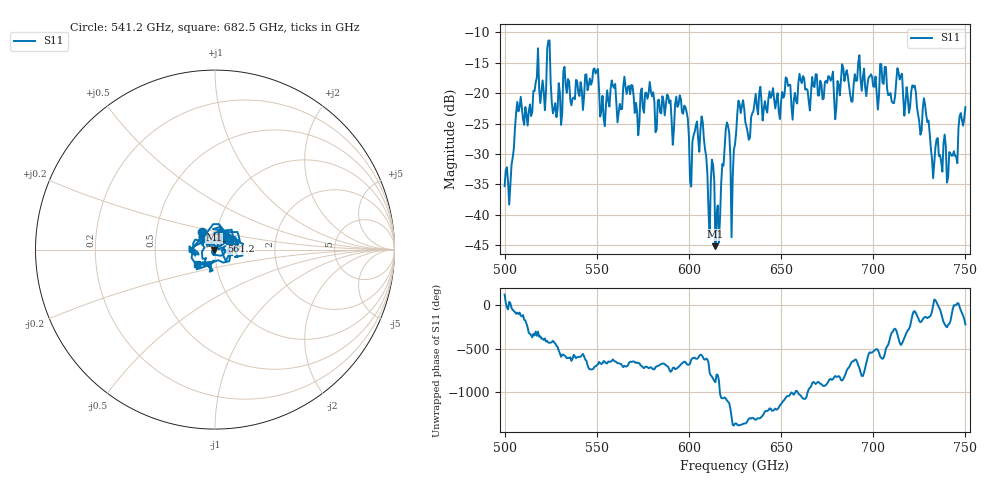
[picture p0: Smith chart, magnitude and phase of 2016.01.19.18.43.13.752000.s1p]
!Created with skrf (http://scikit-rf.org).
# GHz S RI R 50.0
!freq ReS11 ImS11
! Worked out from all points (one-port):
!   401 points, 500 GHz to 750 GHz, reference 50 ohm
!   lowest |S11| = -45.1 dB at 614.4 GHz (marker M1), VSWR 1.01, Z = 49.5 - j0.125 ohm
!   |S11| at or under -10 dB: start of sweep to end of sweep
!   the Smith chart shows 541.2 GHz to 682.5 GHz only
!   S11 on the Smith chart (normalised r, x): 541.2 GHz: 0.85, +0.17; 561.2 GHz: 1.07, +0.10; 682.5 GHz: 0.81, -0.13
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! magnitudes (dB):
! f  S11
! 500 GHz  -35.3
! 503.1 GHz  -34.9
! 507.5 GHz  -23.0
! 513.8 GHz  -21.8
! 516.9 GHz  -18.2
! 531.2 GHz  -23.3
! 541.2 GHz  -18.2
! 549.4 GHz  -16.8
! 553.1 GHz  -20.4
! 561.2 GHz  -24.8
! 562.5 GHz  -21.7
! 593.8 GHz  -22.2
! 601.2 GHz  -35.3
! 607.5 GHz  -24.7
! 610.6 GHz  -39.3
! 614.4 GHz  -45.1
! 615.6 GHz  -38.5
! 620.6 GHz  -24.8
! 623.8 GHz  -34.0
! 625 GHz  -28.4
! 628.1 GHz  -23.3
! 631.9 GHz  -26.4
! 656.2 GHz  -24.3
! 682.5 GHz  -17.9
! 687.5 GHz  -20.2
! 718.8 GHz  -20.6
! 741.2 GHz  -29.7
! 750 GHz  -22.3
